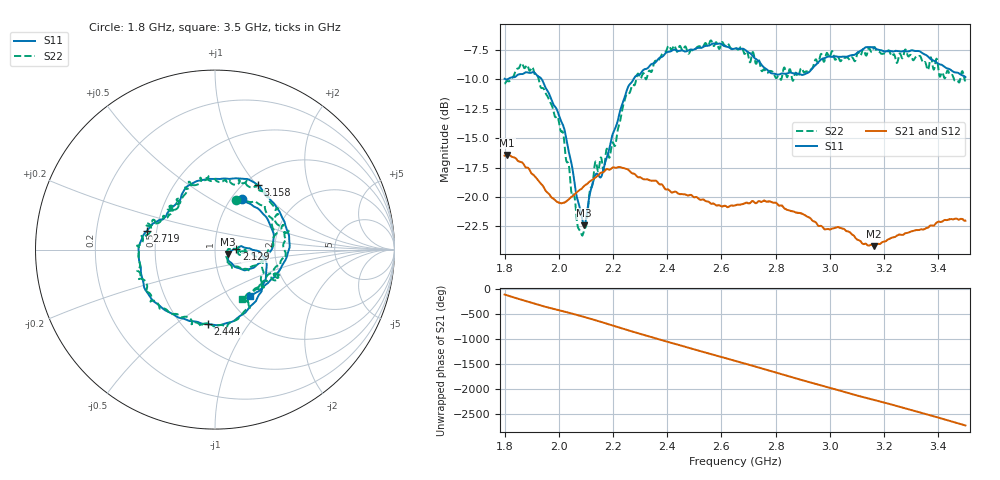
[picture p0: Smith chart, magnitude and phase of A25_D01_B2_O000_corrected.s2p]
! Created with skrf 1.9.0 (http://scikit-rf.org).
# Hz S RI R 50.0
!freq ReS11 ImS11 ReS21 ImS21 ReS12 ImS12 ReS22 ImS22
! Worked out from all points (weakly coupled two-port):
!   1601 points, 1.8 GHz to 3.5 GHz, reference 50 ohm
!   highest |S21| = -16.44 dB at 1.81 GHz (marker M1); lowest = -24.2 dB at 3.163 GHz (marker M2)
!   lowest |S11| = -22.4 dB at 2.093 GHz (marker M3), VSWR 1.16, Z = 57.6 - j2.86 ohm
!   |S11| at or under -10 dB: 1.803594 GHz to 1.811744 GHz (8.15 MHz wide, 0.451 % of centre); 1.937 GHz to 2.276 GHz (338.8 MHz wide, 16.1 % of centre)
!   |S22| runs from -23.3 to -6.7 dB; largest |S21 - S12| = 0.0028
!   S11 on the Smith chart (normalised r, x): 1.8 GHz: 1.12, +0.70; 2.129 GHz: 1.27, +0.00; 2.444 GHz: 0.66, -0.66; 2.719 GHz: 0.44, +0.11; 3.158 GHz: 1.15, +1.02; 3.5 GHz: 1.26, -0.72
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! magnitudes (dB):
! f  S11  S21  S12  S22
! 1.8 GHz  -10.0  -16.5  -16.5  -10.4
! 1.81 GHz  -10.0  -16.4  -16.5  -10.1
! 1.882 GHz  -9.4  -17.5  -17.5  -8.8
! 1.966 GHz  -11.3  -19.8  -19.9  -11.8
! 2.02 GHz  -14.2  -20.5  -20.5  -15.3
! 2.084 GHz  -21.6  -19.3  -19.3  -23.1
! 2.093 GHz  -22.4  -19.1  -19.1  -22.8
! 2.129 GHz  -18.5  -18.4  -18.5  -17.9
! 2.159 GHz  -18.1  -17.9  -17.9  -17.0
! 2.208 GHz  -14.2  -17.5  -17.5  -15.6
! 2.258 GHz  -10.6  -17.7  -17.7  -11.2
! 2.367 GHz  -8.3  -18.8  -18.8  -8.4
! 2.444 GHz  -7.6  -19.7  -19.8  -7.3
! 2.65 GHz  -7.4  -20.7  -20.7  -7.4
! 2.719 GHz  -8.1  -20.4  -20.3  -7.9
! 2.813 GHz  -9.6  -20.7  -20.6  -9.8
! 2.934 GHz  -9.1  -22.0  -21.9  -9.1
! 3.158 GHz  -7.3  -24.1  -24.1  -7.6
! 3.163 GHz  -7.3  -24.2  -24.1  -7.3
! 3.217 GHz  -7.6  -23.6  -23.6  -7.6
! 3.33 GHz  -7.6  -22.8  -22.8  -8.0
! 3.5 GHz  -9.8  -22.0  -22.0  -10.1
